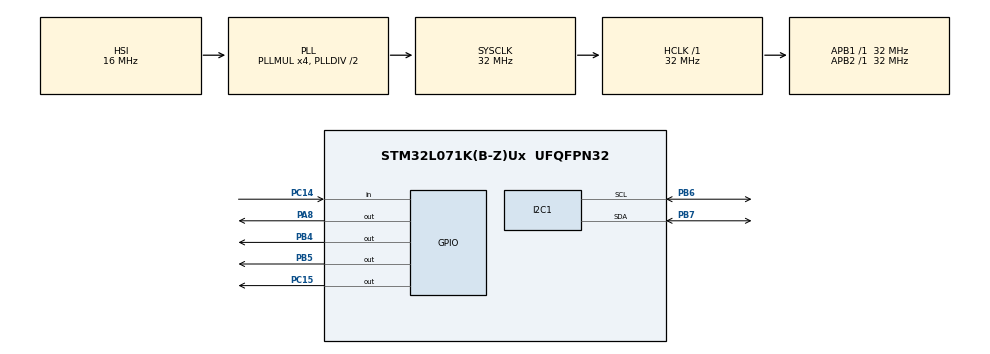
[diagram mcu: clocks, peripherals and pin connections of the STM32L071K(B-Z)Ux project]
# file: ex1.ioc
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I2C1.I2C_Fall_Time=250
I2C1.I2C_Rise_Time=250
I2C1.Timing=0x00F47CAB
Mcu.Family=STM32L0
Mcu.Name=STM32L071K(B-Z)Ux
Mcu.Package=UFQFPN32
NVIC.I2C1_IRQn=true\:0\:0\:false\:false\:true\:true\:true
PA8.Signal=GPIO_Output
PB4.Signal=GPIO_Output
PB5.Signal=GPIO_Output
PB6.Mode=I2C
PB6.Signal=I2C1_SCL
PB7.Mode=I2C
PB7.Signal=I2C1_SDA
PC14-OSC32_IN.Signal=GPIO_Input
PC15-OSC32_OUT.Signal=GPIO_Output
ProjectManager.HeapSize=0x200
ProjectManager.StackSize=0x400
ProjectManager.TargetToolchain=MDK-ARM V5
RCC.AHBFreq_Value=32000000
RCC.APB1Freq_Value=32000000
RCC.APB1TimFreq_Value=32000000
RCC.APB2Freq_Value=32000000
RCC.APB2TimFreq_Value=32000000
RCC.HCLKFreq_Value=32000000
RCC.HSI16_VALUE=16000000
RCC.HSI_VALUE=16000000
RCC.LSE_VALUE=32768
RCC.MSI_VALUE=2097000
RCC.PLLMUL=RCC_PLLMUL_4
RCC.SYSCLKFreq_VALUE=32000000
RCC.SYSCLKSource=RCC_SYSCLKSOURCE_PLLCLK
RCC.VCOOutputFreq_Value=64000000
board=custom

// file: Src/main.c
/* USER CODE BEGIN Header */
/**
  ******************************************************************************
  * @file           : main.c
  * @brief          : Main program body
  ******************************************************************************
  * @attention
  *
  * <h2><center>&copy; Copyright (c) 2019 STMicroelectronics.
  * All rights reserved.</center></h2>
  *
  * This software component is licensed by ST under BSD 3-Clause license,
  * the "License"; You may not use this file except in compliance with the
  * License. You may obtain a copy of the License at:
  *                        opensource.org/licenses/BSD-3-Clause
  *
  ******************************************************************************
  */
/* USER CODE END Header */

#include "main.h"
#include "i2c.h"
#include "gpio.h"

void SystemClock_Config(void);

/* USER CODE BEGIN 0 */

void Task_BrdInit(void)
{
    HAL_GPIO_WritePin(GPIOC, GPIO_PIN_15, GPIO_PIN_SET);

    OLED_PowerControl(ENABLE);

    HAL_Delay(200);
    OLED_Init();
    OLED_Clear();

    OLED_ShowString(0, 0, (unsigned char *)"                ", 16);
    OLED_ShowString(0, 2, (unsigned char *)"                ", 16);

}
/* USER CODE END 0 */

int main(void)
{
  /* USER CODE BEGIN 1 */
    char lcdLine_1st_line[16];
    char lcdLine_2st_line[16];
	uint8_t data[20];
//	uint8_t send[5]={0x4A,0x24,0x0b,0x4A,0x4A};
	uint8_t send[20]={0x24,0x0D,0x20,0x32,0xE0,0x00};

  /* USER CODE END 1 */

  /* MCU Configuration--------------------------------------------------------*/

  /* Reset of all peripherals, Initializes the Flash interface and the Systick. */
  HAL_Init();

  /* Configure the system clock */
  SystemClock_Config();

  /* Initialize all configured peripherals */
  MX_GPIO_Init();
  MX_I2C1_Init();
  /* USER CODE BEGIN 2 */
    Task_BrdInit();
		__HAL_I2C_ENABLE(&hi2c1);
//		__HAL_I2C_GENERATE_NACK(&hi2c1);
  /* USER CODE END 2 */

  /* Infinite loop */
    while (1)
    {

    /* USER CODE BEGIN 3 */
//			HAL_I2C_Mem_Write(&hi2c1,0x4A,0x00,I2C_MEMADD_SIZE_8BIT,send,2,100);
//			HAL_I2C_Mem_Read(&hi2c1,0x4A,0x00,I2C_MEMADD_SIZE_8BIT,data,16,100);

//			HAL_I2C_Master_Transmit(&hi2c1,0x4B,send,sizeof(send),0x100);
//			HAL_I2C_Master_Receive(&hi2c1,0x4B,data,16,0x100);

			sprintf(lcdLine_1st_line, "%d",data[7]);
			sprintf(lcdLine_2st_line, "Hello World    ");

			OLED_ShowString(0, 0, data, 16);
			OLED_ShowString(0, 2, (unsigned char *)lcdLine_2st_line, 16);
    }
  /* USER CODE END 3 */
}

void SystemClock_Config(void)
{
  RCC_OscInitTypeDef RCC_OscInitStruct = {0};
  RCC_ClkInitTypeDef RCC_ClkInitStruct = {0};
  RCC_PeriphCLKInitTypeDef PeriphClkInit = {0};

  /** Configure the main internal regulator output voltage
  */
  __HAL_PWR_VOLTAGESCALING_CONFIG(PWR_REGULATOR_VOLTAGE_SCALE1);
  /** Initializes the CPU, AHB and APB busses clocks
  */
  RCC_OscInitStruct.OscillatorType = RCC_OSCILLATORTYPE_HSI;
  RCC_OscInitStruct.HSIState = RCC_HSI_ON;
  RCC_OscInitStruct.HSICalibrationValue = RCC_HSICALIBRATION_DEFAULT;
  RCC_OscInitStruct.PLL.PLLState = RCC_PLL_ON;
  RCC_OscInitStruct.PLL.PLLSource = RCC_PLLSOURCE_HSI;
  RCC_OscInitStruct.PLL.PLLMUL = RCC_PLLMUL_4;
  RCC_OscInitStruct.PLL.PLLDIV = RCC_PLLDIV_2;
  if (HAL_RCC_OscConfig(&RCC_OscInitStruct) != HAL_OK)
  {
    Error_Handler();
  }
  /** Initializes the CPU, AHB and APB busses clocks
  */
  RCC_ClkInitStruct.ClockType = RCC_CLOCKTYPE_HCLK|RCC_CLOCKTYPE_SYSCLK
                              |RCC_CLOCKTYPE_PCLK1|RCC_CLOCKTYPE_PCLK2;
  RCC_ClkInitStruct.SYSCLKSource = RCC_SYSCLKSOURCE_PLLCLK;
  RCC_ClkInitStruct.AHBCLKDivider = RCC_SYSCLK_DIV1;
  RCC_ClkInitStruct.APB1CLKDivider = RCC_HCLK_DIV1;
  RCC_ClkInitStruct.APB2CLKDivider = RCC_HCLK_DIV1;

  if (HAL_RCC_ClockConfig(&RCC_ClkInitStruct, FLASH_LATENCY_1) != HAL_OK)
  {
    Error_Handler();
  }
  PeriphClkInit.PeriphClockSelection = RCC_PERIPHCLK_I2C1;
  PeriphClkInit.I2c1ClockSelection = RCC_I2C1CLKSOURCE_PCLK1;
  if (HAL_RCCEx_PeriphCLKConfig(&PeriphClkInit) != HAL_OK)
  {
    Error_Handler();
  }
}

void Error_Handler(void)
{
}

/************************ (C) COPYRIGHT STMicroelectronics *****END OF FILE****/
